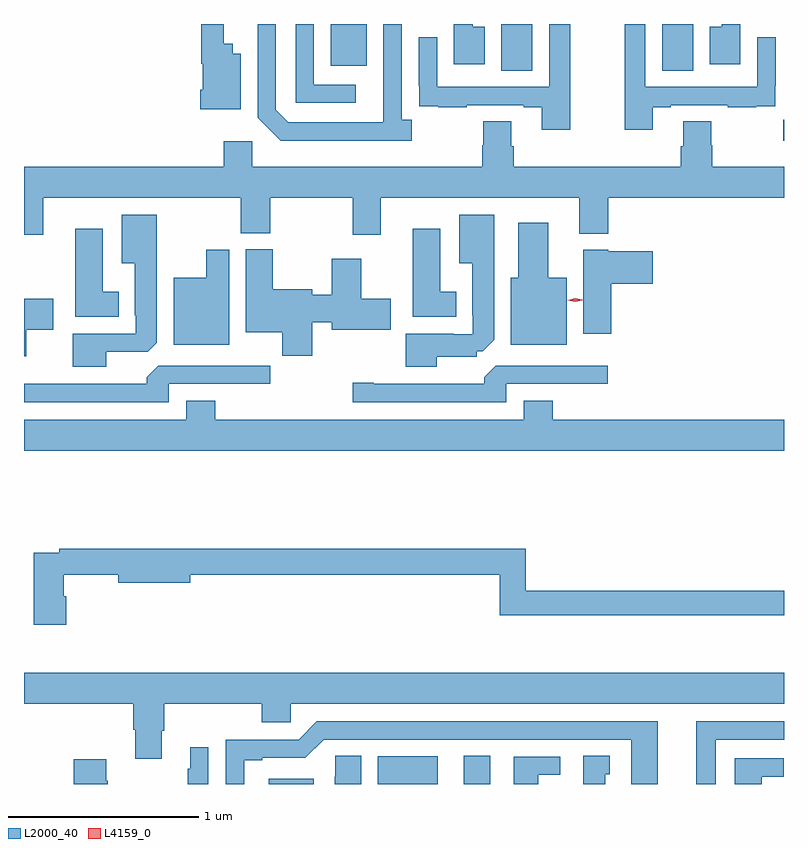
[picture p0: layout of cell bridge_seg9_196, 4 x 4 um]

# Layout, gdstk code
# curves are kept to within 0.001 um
import gdstk
lib = gdstk.Library(unit=1e-6, precision=1e-09)
def R(c, l, rs):  # rectangles x0, y0, x1, y1
    for r in rs: c.add(gdstk.rectangle(r[:2], r[2:], *l))
def P(c, l, *ps):  # polygons
    for p in ps: c.add(gdstk.Polygon(p, *l))
L2000_40 = (2000, 40)
L4159_0 = (4159, 0)

bridge_seg9_196 = lib.new_cell('bridge_seg9_196')
R(bridge_seg9_196, L2000_40, [(171.02,1209.318,171.256,1209.346), (171.593,1209.318,171.91,1209.463), (172.046,1209.318,172.186,1209.467), (173.727,1212.704,173.732,1212.814), (172.244,1213.072,172.408,1213.318), (173.09,1213.072,173.254,1213.318), (171.347,1213.097,171.535,1213.318)])
P(bridge_seg9_196, L2000_40, [(171.772,1212.814),(171.72,1212.814),(171.72,1213.318),(171.624,1213.318),(171.623,1212.801),(171.123,1212.801),(171.057,1212.867),(171.057,1213.318),(170.961,1213.318),(170.961,1212.825),(171.082,1212.704),(171.772,1212.704)],
  [(172.156,1213.303),(172.093,1213.303),(172.093,1213.318),(171.995,1213.318),(171.995,1213.107),(172.156,1213.107)],
  [(171.478,1212.999),(171.258,1212.999),(171.258,1213.318),(171.162,1213.318),(171.162,1212.903),(171.478,1212.903)],
  [(172.606,1213.318),(172.497,1213.318),(172.497,1212.987),(171.906,1212.987),(171.906,1213.249),(171.81,1213.249),(171.81,1212.994),(171.811,1212.994),(171.811,1212.885),(171.913,1212.885),(171.913,1212.879),(172.061,1212.879),(172.061,1212.891),(172.361,1212.891),(172.361,1212.879),(172.457,1212.879),(172.457,1212.762),(172.606,1212.762)],
  [(170.872,1213.162),(170.83,1213.162),(170.83,1213.213),(170.783,1213.213),(170.783,1213.318),(170.665,1213.318),(170.665,1213.109),(170.672,1213.109),(170.672,1212.973),(170.66,1212.973),(170.66,1212.869),(170.872,1212.869)],
  [(173.503,1213.318),(173.405,1213.318),(173.405,1213.303),(173.342,1213.303),(173.342,1213.107),(173.503,1213.107)],
  [(173.041,1212.879),(173.137,1212.879),(173.137,1212.891),(173.437,1212.891),(173.437,1212.879),(173.585,1212.879),(173.585,1212.885),(173.687,1212.885),(173.687,1212.994),(173.688,1212.994),(173.688,1213.249),(173.592,1213.249),(173.592,1212.987),(173.001,1212.987),(173.001,1213.318),(172.893,1213.318),(172.893,1212.762),(173.041,1212.762)],
  [(169.834,1212.404),(170.872,1212.404),(170.872,1212.217),(171.027,1212.217),(171.027,1212.404),(171.463,1212.404),(171.463,1212.21),(171.61,1212.21),(171.61,1212.404),(172.655,1212.404),(172.655,1212.215),(172.808,1212.215),(172.808,1212.404),(173.732,1212.404),(173.732,1212.568),(173.354,1212.568),(173.354,1212.681),(173.349,1212.681),(173.349,1212.806),(173.201,1212.806),(173.201,1212.674),(173.189,1212.674),(173.189,1212.568),(172.31,1212.568),(172.31,1212.674),(172.297,1212.674),(172.297,1212.806),(172.15,1212.806),(172.15,1212.681),(172.145,1212.681),(172.145,1212.568),(170.934,1212.568),(170.934,1212.7),(170.783,1212.7),(170.783,1212.568),(169.732,1212.568),(169.732,1212.21),(169.834,1212.21)],
  [(170.164,1211.592),(170.382,1211.592),(170.431,1211.641),(170.431,1212.313),(170.246,1212.313),(170.246,1212.059),(170.315,1212.059),(170.315,1211.785),(170.319,1211.785),(170.319,1211.688),(169.988,1211.688),(169.988,1211.513),(170.164,1211.513)],
  [(171.904,1211.567),(172.116,1211.567),(172.116,1211.595),(172.147,1211.595),(172.207,1211.655),(172.207,1212.313),(172.022,1212.313),(172.022,1212.059),(172.091,1212.059),(172.091,1211.785),(172.095,1211.785),(172.095,1211.685),(171.995,1211.685),(171.995,1211.689),(171.74,1211.689),(171.74,1211.513),(171.904,1211.513)],
  [(172.588,1211.983),(172.492,1211.983),(172.492,1212.271),(172.334,1212.271),(172.334,1211.983),(172.295,1211.983),(172.295,1211.63),(172.588,1211.63)],
  [(172.006,1211.908),(171.922,1211.908),(171.922,1212.241),(171.779,1212.241),(171.779,1211.777),(172.006,1211.777)],
  [(170.23,1211.908),(170.146,1211.908),(170.146,1212.241),(170.003,1212.241),(170.003,1211.777),(170.23,1211.777)],
  [(171.25,1211.747),(171.353,1211.747),(171.353,1211.708),(171.661,1211.708),(171.661,1211.871),(171.508,1211.871),(171.508,1212.082),(171.353,1212.082),(171.353,1211.894),(171.25,1211.894),(171.25,1211.923),(171.042,1211.923),(171.042,1212.132),(170.9,1212.132),(170.9,1211.696),(171.092,1211.696),(171.092,1211.571),(171.25,1211.571)],
  [(170.812,1212.13),(170.69,1212.13),(170.69,1211.983),(170.519,1211.983),(170.519,1211.63),(170.812,1211.63)],
  [(172.823,1211.951),(173.041,1211.951),(173.041,1212.121),(172.806,1212.121),(172.806,1212.13),(172.676,1212.13),(172.676,1211.688),(172.823,1211.688)],
  [(169.744,1211.708),(169.885,1211.708),(169.885,1211.871),(169.732,1211.871),(169.732,1211.57),(169.744,1211.57)],
  [(170.493,1211.424),(171.028,1211.424),(171.028,1211.52),(170.439,1211.52),(170.378,1211.458),(170.378,1211.424),(169.732,1211.424),(169.732,1211.328),(170.493,1211.328)],
  [(172.269,1211.424),(172.804,1211.424),(172.804,1211.52),(172.215,1211.52),(172.154,1211.458),(172.154,1211.424),(171.574,1211.424),(171.574,1211.429),(171.462,1211.429),(171.462,1211.328),(172.269,1211.328)],
  [(173.732,1211.236),(172.514,1211.236),(172.514,1211.335),(172.361,1211.335),(172.361,1211.236),(170.738,1211.236),(170.738,1211.335),(170.585,1211.335),(170.585,1211.236),(169.732,1211.236),(169.732,1211.072),(173.732,1211.072)],
  [(169.955,1210.305),(169.942,1210.305),(169.942,1210.42),(170.228,1210.42),(170.228,1210.378),(170.608,1210.378),(170.608,1210.42),(172.237,1210.42),(172.237,1210.206),(173.732,1210.206),(173.732,1210.334),(172.373,1210.334),(172.373,1210.556),(169.918,1210.556),(169.918,1210.536),(169.784,1210.536),(169.784,1210.155),(169.955,1210.155)],
  [(169.732,1209.74),(170.306,1209.74),(170.306,1209.603),(170.318,1209.603),(170.318,1209.45),(170.458,1209.45),(170.458,1209.598),(170.471,1209.598),(170.471,1209.74),(170.984,1209.74),(170.984,1209.642),(171.135,1209.642),(171.135,1209.74),(173.732,1209.74),(173.732,1209.904),(169.732,1209.904)],
  [(170.89,1209.444),(170.986,1209.444),(170.986,1209.456),(171.213,1209.456),(171.309,1209.552),(172.928,1209.552),(172.928,1209.318),(173.068,1209.318),(173.068,1209.648),(171.273,1209.648),(171.177,1209.552),(170.793,1209.552),(170.793,1209.318),(170.89,1209.318)],
  [(173.374,1209.552),(173.732,1209.552),(173.732,1209.648),(173.27,1209.648),(173.27,1209.318),(173.374,1209.318)],
  [(170.703,1209.511),(170.606,1209.511),(170.606,1209.398),(170.595,1209.398),(170.595,1209.318),(170.703,1209.318)],
  [(171.508,1209.467),(171.369,1209.467),(171.369,1209.356),(171.368,1209.356),(171.368,1209.318),(171.508,1209.318)],
  [(172.792,1209.369),(172.816,1209.369),(172.816,1209.467),(172.676,1209.467),(172.676,1209.318),(172.792,1209.318)],
  [(172.438,1209.366),(172.555,1209.366),(172.555,1209.462),(172.31,1209.462),(172.31,1209.318),(172.438,1209.318)],
  [(173.614,1209.356),(173.731,1209.356),(173.731,1209.453),(173.474,1209.453),(173.474,1209.318),(173.614,1209.318)],
  [(170.172,1209.335),(170.164,1209.335),(170.164,1209.448),(169.994,1209.448),(169.994,1209.318),(170.172,1209.318)])
P(bridge_seg9_196, L4159_0, [(172.633,1211.855),(172.595,1211.863),(172.594,1211.864),(172.595,1211.864),(172.633,1211.875),(172.671,1211.866),(172.671,1211.866),(172.671,1211.865)])

lib.write_gds('bridge_seg9_196.gds')
